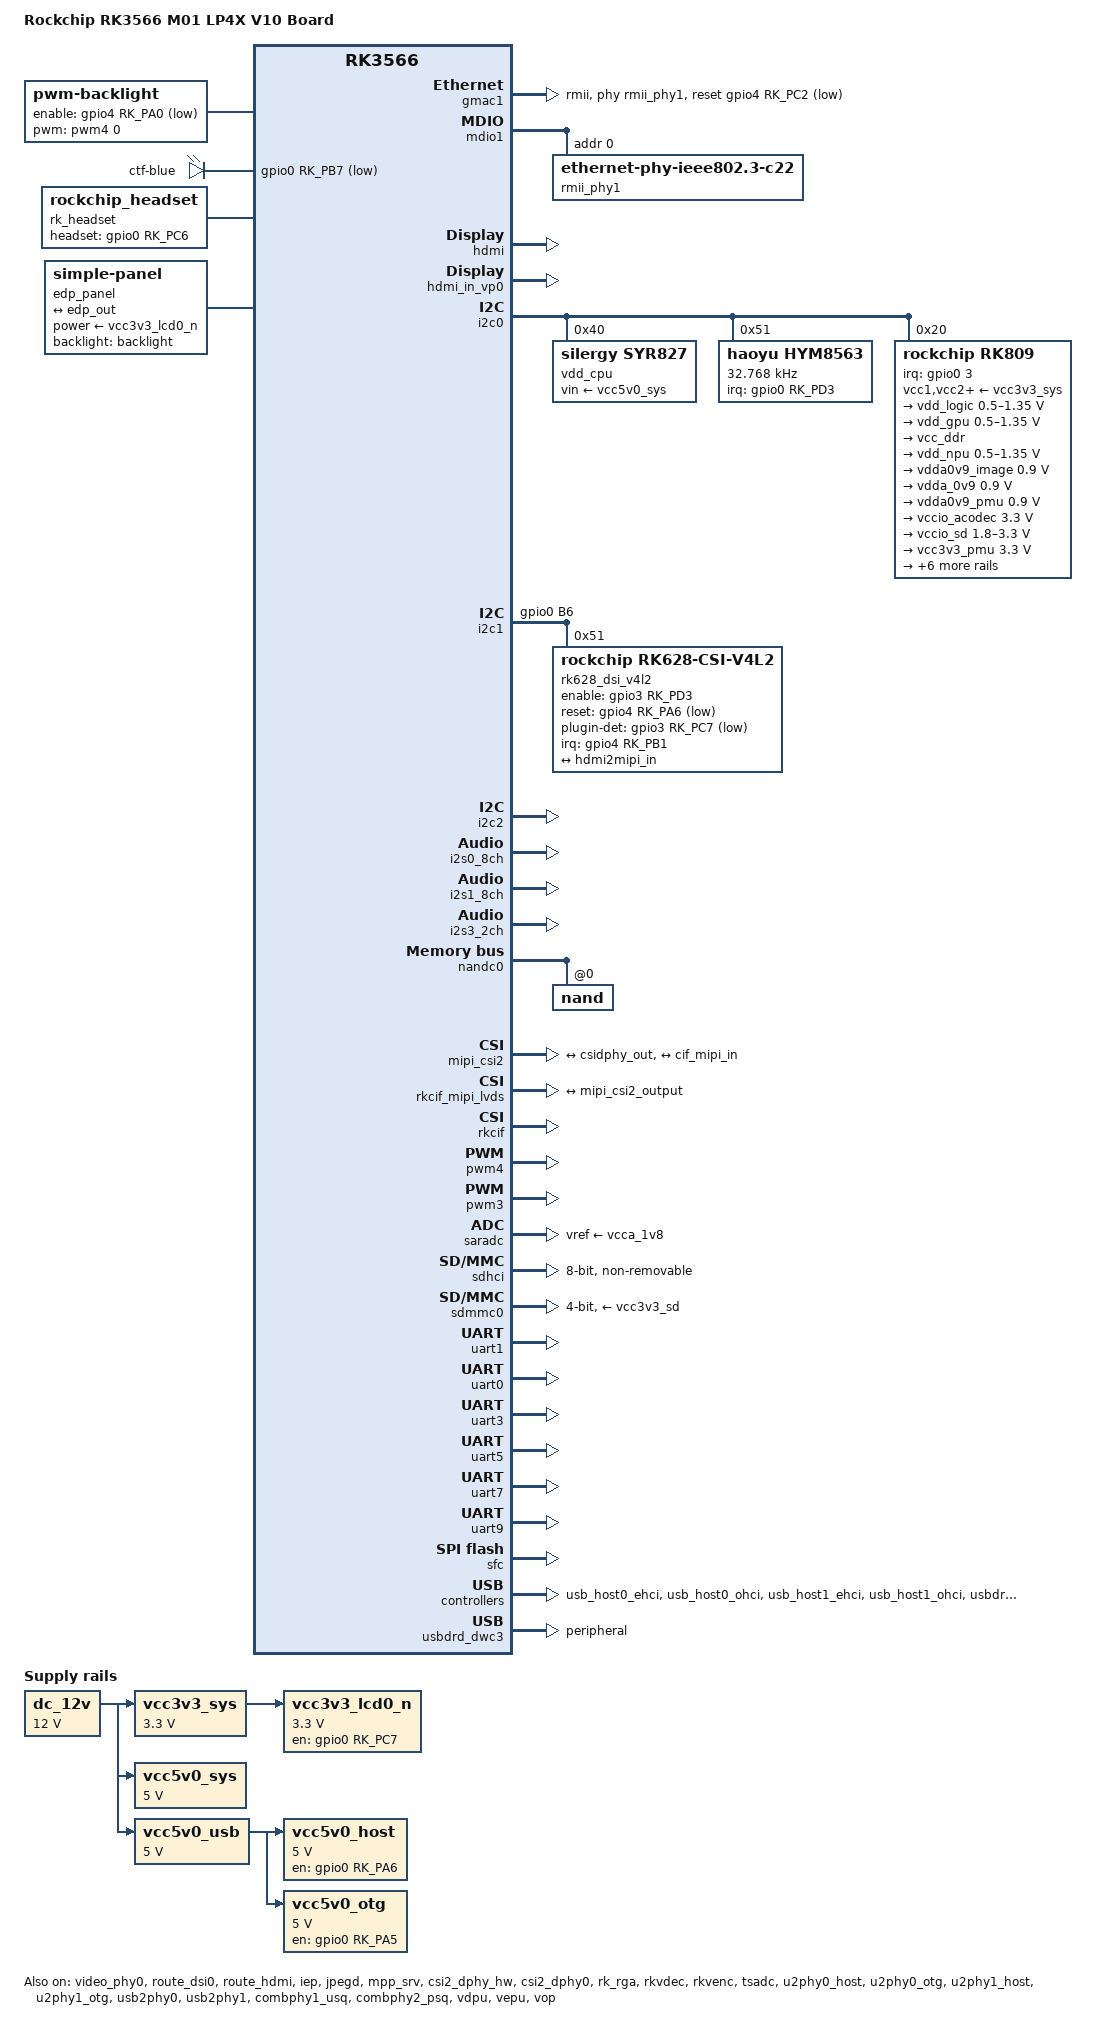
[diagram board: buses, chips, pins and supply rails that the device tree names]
// SPDX-License-Identifier: (GPL-2.0+ OR MIT)
/*
 * Copyright (c) 2020 Rockchip Electronics Co., Ltd.
 *
 */

/dts-v1/;

#include <dt-bindings/gpio/gpio.h>
#include <dt-bindings/pwm/pwm.h>
#include <dt-bindings/pinctrl/rockchip.h>
#include <dt-bindings/input/rk-input.h>
#include <dt-bindings/display/drm_mipi_dsi.h>
#include <dt-bindings/display/media-bus-format.h>
#include <dt-bindings/sensor-dev.h>
#include "rk3566.dtsi"
#include "rk3568-android.dtsi"


/ {
	model = "Rockchip RK3566 M01 LP4X V10 Board";
	compatible = "rockchip,rk3566-m01-lp4x-v10", "rockchip,rk3566";

	adc_keys: adc-keys {
		compatible = "adc-keys";
		status = "disabled";
		io-channels = <&saradc 0>;
		io-channel-names = "buttons";
		keyup-threshold-microvolt = <1800000>;
		poll-interval = <100>;

		vol-up-key {
			label = "volume up";
			linux,code = <KEY_VOLUMEUP>;
			press-threshold-microvolt = <1750>;
		};

		vol-down-key {
			label = "volume down";
			linux,code = <KEY_VOLUMEDOWN>;
			press-threshold-microvolt = <297500>;
		};

		menu-key {
			label = "menu";
			linux,code = <KEY_MENU>;
			press-threshold-microvolt = <980000>;
		};

		back-key {
			label = "back";
			linux,code = <KEY_BACK>;
			press-threshold-microvolt = <1305500>;
		};
	};

	hx711 {	//must disable uart3
		compatible = "avia,hx711";
		sck-gpios = <&gpio1 RK_PA0 GPIO_ACTIVE_HIGH>;
		dout-gpios = <&gpio1 RK_PA1 GPIO_ACTIVE_HIGH>;
		avdd-supply = <&vcc3v3_hx711>;
		clock-frequency = <100000>;
		status = "disabled";
	};

	vcc3v3_hx711:vcc3v3_hx711 {
		compatible = "regulator-fixed";
		regulator-name = "vcc3v3_hx711";
		regulator-boot-on;
		regulator-min-microvolt = <3300000>;
		regulator-max-microvolt = <3300000>;
		status = "disabled";
	};

	backlight: backlight {
		compatible = "pwm-backlight";

		//25000=40Khz 50000=20khz 80000=12.5khz 100000=10Khz 1000000=1Khz  5000000=200hz
		pwms = <&pwm4 0 100000 0>;
		enable-gpios = <&gpio4 RK_PA0 GPIO_ACTIVE_LOW>;
		brightness-levels = <
			  0   1   2   3   4   5   6   7
			  8   9  10  11  12  13  14  15
			 16  17  18  19  20  21  22  23
			 24  25  26  27  28  29  30  31
			 32  33  34  35  36  37  38  39
			 40  41  42  43  44  45  46  47
			 48  49  50  51  52  53  54  55
			 56  57  58  59  60  61  62  63
			 64  65  66  67  68  69  70  71
			 72  73  74  75  76  77  78  79
			 80  81  82  83  84  85  86  87
			 88  89  90  91  92  93  94  95
			 96  97  98  99 100 101 102 103
			104 105 106 107 108 109 110 111
			112 113 114 115 116 117 118 119
			120 121 122 123 124 125 126 127
			128 129 130 131 132 133 134 135
			136 137 138 139 140 141 142 143
			144 145 146 147 148 149 150 151
			152 153 154 155 156 157 158 159
			160 161 162 163 164 165 166 167
			168 169 170 171 172 173 174 175
			176 177 178 179 180 181 182 183
			184 185 186 187 188 189 190 191
			192 193 194 195 196 197 198 199
			200 201 202 203 204 205 206 207
			208 209 210 211 212 213 214 215
			216 217 218 219 220 221 222 223
			224 225 226 227 228 229 230 231
			232 233 234 235 236 237 238 239
			240 241 242 243 244 245 246 247
			248 249 250 251 252 253 254 255>;
		default-brightness-level = <128>;
	};

	dc_12v: dc-12v {
		compatible = "regulator-fixed";
		regulator-name = "dc_12v";
		regulator-always-on;
		regulator-boot-on;
		regulator-min-microvolt = <12000000>;
		regulator-max-microvolt = <12000000>;
	};

	hdmi_sound: hdmi-sound {
		status = "disabled";
		compatible = "rockchip,hdmi";
		rockchip,mclk-fs = <128>;
		rockchip,card-name = "rockchip,hdmi";
		rockchip,cpu = <&i2s0_8ch>;
		rockchip,codec = <&hdmi>;
	};

	leds: leds {
		compatible = "gpio-leds";
		work_led: work {
			label = "ctf-blue";
			linux,default-trigger = "default-on";
			default-state = "on";
			gpios = <&gpio0 RK_PB7 GPIO_ACTIVE_LOW>;
			pinctrl-names = "default";
			pinctrl-0 = <&led_ctrl>;
		};
	};

	rk_headset: rk-headset {
		compatible = "rockchip_headset";
		headset_gpio = <&gpio0 RK_PC6 GPIO_ACTIVE_HIGH>;
		pinctrl-names = "default";
		pinctrl-0 = <&hp_det>;
	};

	gpio_demo {
        	compatible = "gpio_demo";
		status = "okay";
		pinctrl-names = "default";
		pinctrl-0 = <&user_gpios>;
	};

	rk809_sound: rk809-sound {
		status = "okay";
		compatible = "simple-audio-card";
		simple-audio-card,format = "i2s";
		simple-audio-card,name = "rk809";
		simple-audio-card,mclk-fs = <256>;

		simple-audio-card,cpu {
			sound-dai = <&i2s1_8ch>;
		};
		simple-audio-card,codec {
			sound-dai = <&rk809_codec>;
		};
	};

	vcc3v3_sys: vcc3v3-sys {
		compatible = "regulator-fixed";
		regulator-name = "vcc3v3_sys";
		regulator-always-on;
		regulator-boot-on;
		regulator-min-microvolt = <3300000>;
		regulator-max-microvolt = <3300000>;
		vin-supply = <&dc_12v>;
	};

	vcc5v0_sys: vcc5v0-sys {
		compatible = "regulator-fixed";
		regulator-name = "vcc5v0_sys";
		regulator-always-on;
		regulator-boot-on;
		regulator-min-microvolt = <5000000>;
		regulator-max-microvolt = <5000000>;
		vin-supply = <&dc_12v>;
	};

	vcc5v0_usb: vcc5v0-usb {
		compatible = "regulator-fixed";
		regulator-name = "vcc5v0_usb";
		regulator-always-on;
		regulator-boot-on;
		regulator-min-microvolt = <5000000>;
		regulator-max-microvolt = <5000000>;
		vin-supply = <&dc_12v>;
	};

	vcc5v0_host: vcc5v0-host-regulator {
		compatible = "regulator-fixed";
		regulator-name = "vcc5v0_host";
		regulator-boot-on;
		regulator-always-on;
		regulator-min-microvolt = <5000000>;
		regulator-max-microvolt = <5000000>;
		enable-active-high;
		gpio = <&gpio0 RK_PA6 GPIO_ACTIVE_HIGH>;
		vin-supply = <&vcc5v0_usb>;
		pinctrl-names = "default";
		pinctrl-0 = <&vcc5v0_host_en &host_hub_reset>;
	};

	vcc5v0_otg: vcc5v0-otg-regulator {
		compatible = "regulator-fixed";
		regulator-name = "vcc5v0_otg";
		regulator-min-microvolt = <5000000>;
		regulator-max-microvolt = <5000000>;
		enable-active-high;
		gpio = <&gpio0 RK_PA5 GPIO_ACTIVE_HIGH>;
		vin-supply = <&vcc5v0_usb>;
		pinctrl-names = "default";
		pinctrl-0 = <&vcc5v0_otg_en>;
	};

	vcc3v3_lcd0_n: vcc3v3-lcd0-n {
		compatible = "regulator-fixed";
		regulator-name = "vcc3v3_lcd0_n";
		regulator-boot-on;
		regulator-always-on;
		regulator-min-microvolt = <3300000>;
		regulator-max-microvolt = <3300000>;
		enable-active-high;
		gpio = <&gpio0 RK_PC7 GPIO_ACTIVE_HIGH>;
		vin-supply = <&vcc3v3_sys>;

		regulator-state-mem {
			regulator-off-in-suspend;
		};
	};

	rk628_audio_codec: rk628-audio-codec {
		compatible = "rockchip,dummy-codec";
		#sound-dai-cells = <0>;
	};

	rk628_hdmi_rx_sound: rk628-hdmi-rx-sound {
		compatible = "simple-audio-card";
		simple-audio-card,name = "hdmiin";
		simple-audio-card,format = "i2s";
		simple-audio-card,bitclock-master = <&rk628_audio_master>;
		simple-audio-card,frame-master = <&rk628_audio_master>;

		simple-audio-card,cpu {
			sound-dai = <&i2s3_2ch>;
		};

		rk628_audio_master: simple-audio-card,codec {
			sound-dai = <&rk628_audio_codec>;
		};
	};

	sdio_pwrseq: sdio-pwrseq {
		compatible = "mmc-pwrseq-simple";
		//clocks = <&pmucru CLK_RTC_32K>;
		clocks = <&rk809 1>;
		clock-names = "ext_clock";
		pinctrl-names = "default";
		pinctrl-0 = <&wifi_enable_h &wifi_power_h>;

		/*
		 * On the module itself this is one of these (depending
		 * on the actual card populated):
		 * - SDIO_RESET_L_WL_REG_ON
		 * - PDN (power down when low)
		 */
		post-power-on-delay-ms = <200>;
		reset-gpios = <&gpio2 RK_PB1 GPIO_ACTIVE_LOW>;
	};

	wireless_wlan: wireless-wlan {
		compatible = "wlan-platdata";
		rockchip,grf = <&grf>;
		wifi_chip_type = "ap6398s";
		pinctrl-names = "default";
		pinctrl-0 = <&wifi_host_wake_irq>;
		WIFI,host_wake_irq = <&gpio2 RK_PB2 GPIO_ACTIVE_HIGH>;
		status = "disabled";
	};

	wireless_bluetooth: wireless-bluetooth {
		compatible = "bluetooth-platdata";
		clocks = <&rk809 1>;
		clock-names = "ext_clock";
		//wifi-bt-power-toggle;
		uart_rts_gpios = <&gpio2 RK_PB5 GPIO_ACTIVE_LOW>;
		pinctrl-names = "default", "rts_gpio";
		pinctrl-0 = <&uart1m0_rtsn>;
		pinctrl-1 = <&uart1_gpios>;
		BT,reset_gpio    = <&gpio2 RK_PB7 GPIO_ACTIVE_HIGH>;
		BT,wake_gpio     = <&gpio2 RK_PC1 GPIO_ACTIVE_HIGH>;
		BT,wake_host_irq = <&gpio2 RK_PC0 GPIO_ACTIVE_HIGH>;
		status = "disabled";
	};

	test-power {
		status = "okay";
	};

	edp_panel: edp-panel {
		compatible = "simple-panel";
		backlight = <&backlight>;
		power-supply = <&vcc3v3_lcd0_n>;
		//enable-gpios = <&gpio1 RK_PC6 GPIO_ACTIVE_HIGH>;
		prepare-delay-ms = <200>;
		enable-delay-ms = <20>;

		display-timings {
			native-mode = <&timing_edp>;

			timing_edp: timing-edp {
				clock-frequency = <148000000>;
				hactive = <1920>;
				vactive = <1080>;
				hback-porch = <80>;
				hfront-porch = <160>;
				vback-porch = <30>;
				vfront-porch = <20>;
				hsync-len = <32>;
				vsync-len = <18>;
				hsync-active = <0>;
				vsync-active = <0>;
				de-active = <0>;
				pixelclk-active = <0>;
			};
		};

		ports {
			panel_in: endpoint {
				remote-endpoint = <&edp_out>;
			};
		};
	};
};

&bus_npu {
	/* Dedicated image does not use the NPU; avoid PM-domain startup faults. */
	status = "disabled";
};

&cpu0 {
	cpu-supply = <&vdd_cpu>;
};

&dfi {
	status = "disabled";
};

&dmc {
	center-supply = <&vdd_logic>;
	status = "disabled";
};

&edp {
	status = "disabled";
	//hpd-gpios = <&gpio4 RK_PC0 GPIO_ACTIVE_HIGH>;

	force-hpd;

	ports {
		port@1 {
			reg = <1>;

			edp_out: endpoint {
				remote-endpoint = <&panel_in>;
			};
		};
	};
};

&edp_in_vp0 {
	status = "disabled";
};

&edp_in_vp1 {
	status = "disabled";
};

&edp_phy {
	status = "disabled";
};

&route_edp {
	status = "disabled";
	connect = <&vp1_out_edp>;
};

/*
 * video_phy0 needs to be enabled
 * when dsi0 is enabled
 */
&dsi0 {
	enable-gpios = <&gpio3 RK_PD4 GPIO_ACTIVE_HIGH>;
	reset-gpios = <&gpio3 RK_PD5 GPIO_ACTIVE_LOW>;
	status = "disabled";
	rockchip,lane-rate = <890>;

	dsi0_panel: panel@0 {
		status = "okay";
		compatible = "simple-panel-dsi";
		reg = <0>;
		power-supply = <&vcc3v3_lcd0_n>;
		backlight = <&backlight>;
		reset-delay-ms = <100>;
		enable-delay-ms = <100>;
		prepare-delay-ms = <60>;
		unprepare-delay-ms = <60>;
		disable-delay-ms = <60>;
		dsi,flags = <(MIPI_DSI_MODE_VIDEO | MIPI_DSI_MODE_VIDEO_BURST |
			MIPI_DSI_MODE_LPM | MIPI_DSI_MODE_EOT_PACKET)>;
		dsi,format = <MIPI_DSI_FMT_RGB888>;
		dsi,lanes  = <4>;

		panel-init-sequence = [
			23 05 02 27 AA
			23 05 02 48 02
			23 05 02 B6 20
			23 05 02 01 80
			23 05 02 02 38
			23 05 02 03 47
			23 05 02 04 a0
			23 05 02 05 14
			23 05 02 06 64
			23 05 02 07 00
			23 05 02 08 0a
			23 05 02 09 0a
			23 05 02 0A 19
			23 05 02 0B 82
			23 05 02 0C 14
			23 05 02 0D 01
			23 05 02 0E 80
			23 05 02 0F 20
			23 05 02 10 20
			23 05 02 11 03
			23 05 02 12 1B
			23 05 02 13 53
			23 05 02 14 01
			23 05 02 15 23
			23 05 02 16 40
			23 05 02 17 00
			23 05 02 18 01
			23 05 02 19 23
			23 05 02 1A 40
			23 05 02 1B 00
			23 05 02 1E 46
			23 05 02 51 30
			23 05 02 1F 10
			23 78 02 2A 01
		];

		panel-init-sequence-p1366 = [
			23 05 02 27 AA
			23 05 02 48 02
			23 05 02 B6 20
			23 05 02 01 56
			23 05 02 02 00
			23 05 02 03 35
			23 05 02 04 1e
			23 05 02 05 92
			23 05 02 06 12
			23 05 02 07 00
			23 05 02 08 1e
			23 05 02 09 14
			23 05 02 0A 0a
			23 05 02 0B 82
			23 05 02 0C 14
			23 05 02 0D 01
			23 05 02 0E 80
			23 05 02 0F 20
			23 05 02 10 20
			23 05 02 11 03
			23 05 02 12 1B
			23 05 02 13 09
			23 05 02 14 01
			23 05 02 15 23
			23 05 02 16 40
			23 05 02 17 00
			23 05 02 18 01
			23 05 02 19 23
			23 05 02 1A 40
			23 05 02 1B 00
			23 05 02 1E 46
			23 05 02 51 30
			23 05 02 1F 10
			23 78 02 2A 01
		];

		disp_timings0: display-timings {
			native-mode = <&timing0>;

			timing0: timing0 {
				clock-frequency = <148500000>;
				hactive = <1920>;
				vactive = <1080>;
				hback-porch = <100>;
				hsync-len = <20>;
				hfront-porch = <160>;
				vback-porch = <25>;
				vfront-porch = <10>;
				vsync-len = <10>;
				hsync-active = <0>;
				vsync-active = <0>;
				de-active = <0>;
				pixelclk-active = <0>;
			};

			timing2: timing2 {
				clock-frequency = <75000000>;
				hactive = <1366>;
				vactive = <768>;
				hback-porch = <18>;
				hsync-len = <146>;
				hfront-porch = <30>;
				vback-porch = <10>;
				vfront-porch = <30>;
				vsync-len = <20>;
				hsync-active = <0>;
				vsync-active = <0>;
				de-active = <0>;
				pixelclk-active = <0>;
			};
		};

		ports {
			#address-cells = <1>;
			#size-cells = <0>;

			port@0 {
				reg = <0>;
				panel_in_dsi: endpoint {
					remote-endpoint = <&dsi_out_panel>;
				};
			};
		};
	};

	ports {
		#address-cells = <1>;
		#size-cells = <0>;

		port@1 {
			reg = <1>;
			dsi_out_panel: endpoint {
				remote-endpoint = <&panel_in_dsi>;
			};
		};
	};

};

&dsi0_in_vp0 {
	status = "disabled";
};

&dsi0_in_vp1 {
	status = "disabled";
};

&vp1 {
	//xmirror-enable = <0>;
};

&video_phy0 {
	status = "okay";
};

&route_dsi0 {
	status = "okay";
	connect = <&vp1_out_dsi0>;
};

/*
 * video_phy1 needs to be enabled
 * when dsi1 is enabled
 */
&dsi1 {
	status = "disabled";
};

&dsi1_in_vp0 {
	status = "disabled";
};

&dsi1_in_vp1 {
	status = "disabled";
};

&video_phy1 {
	status = "disabled";
};

&gmac1 {
	phy-mode = "rmii";
	clock_in_out = "output";

	snps,reset-gpio = <&gpio4 RK_PC2 GPIO_ACTIVE_LOW>;
	snps,reset-active-low;
	/* Reset time is 20ms, 100ms for rtl8211f */
	snps,reset-delays-us = <0 50000 100000>;

	//assigned-clocks = <&cru SCLK_GMAC1_RX_TX>, <&cru SCLK_GMAC1>, <&cru CLK_MAC1_OUT>;
	assigned-clocks = <&cru SCLK_GMAC1_RX_TX>, <&cru SCLK_GMAC1>;
	assigned-clock-parents = <&cru SCLK_GMAC1_RMII_SPEED>;
	assigned-clock-rates = <0>, <50000000>;
	//assigned-clock-rates = <0>, <50000000>, <25000000>;

	pinctrl-names = "default";
	pinctrl-0 = <&gmac1m0_miim
			&gmac1m0_clkinout
			&gmac1m0_rx_bus2
			&gmac1m0_tx_bus2>;

	//tx_delay = <0x4f>;
	//rx_delay = <0x25>;

	phy-handle = <&rmii_phy1>;
	status = "okay";
};

&mdio1 {
	rmii_phy1: phy@0 {
		compatible = "ethernet-phy-ieee802.3-c22";
		//clocks = <&cru CLK_MAC1_OUT>;
		reg = <0x0>;
	};
};

&gpu {
	/* DRM/KMS remains enabled; the Mali GPU/Vulkan stack is intentionally removed. */
	status = "disabled";
};

&hdmi {
	status = "okay";
	rockchip,phy-table =
		<92812500  0x8009 0x0000 0x0270>,
		<165000000 0x800b 0x0000 0x026d>,
		<185625000 0x800b 0x0000 0x01ed>,
		<297000000 0x800b 0x0000 0x01ad>,
		<594000000 0x8029 0x0000 0x0088>,
		<000000000 0x0000 0x0000 0x0000>;
};

&hdmi_in_vp0 {
	status = "okay";
};

&hdmi_in_vp1 {
	status = "disabled";
};

&route_hdmi {
	status = "okay";
	connect = <&vp0_out_hdmi>;
};

&hdmi_sound {
	status = "okay";
};

&i2c0 {
	status = "okay";

	vdd_cpu: syr837@40 {
		compatible = "silergy,syr827";
		reg = <0x40>;
		vin-supply = <&vcc5v0_sys>;
		regulator-compatible = "fan53555-reg";
		regulator-name = "vdd_cpu";
		regulator-min-microvolt = <712500>;
		regulator-max-microvolt = <1500000>;
		regulator-init-microvolt = <900000>;
		regulator-ramp-delay = <1000>;
		fcs,suspend-voltage-selector = <1>;
		regulator-initial-state = <3>;
		regulator-boot-on;
		regulator-always-on;
		regulator-state-mem {
			regulator-on-in-suspend;
			regulator-suspend-microvolt = <1100000>;
			regulator-changeable-in-suspend;
		};
	};

	hym8563: hym8563@51 {
		compatible = "haoyu,hym8563";
		status = "okay";
		reg = <0x51>;
		#clock-cells = <0>;
		clock-frequency = <32768>;
		clock-output-names = "rtc-xin32k";
		interrupt-parent = <&gpio0>;
		interrupts = <RK_PD3 IRQ_TYPE_EDGE_FALLING>;
		pinctrl-names = "default";
		pinctrl-0 = <&rtc_int>;
		wakeup-source;
	};

	rk809: pmic@20 {
		compatible = "rockchip,rk809";
		reg = <0x20>;
		interrupt-parent = <&gpio0>;
		interrupts = <3 IRQ_TYPE_LEVEL_LOW>;

		pinctrl-names = "default", "pmic-sleep",
				"pmic-power-off", "pmic-reset";
		pinctrl-0 = <&pmic_int>;
		pinctrl-1 = <&soc_slppin_slp>, <&rk817_slppin_slp>;
		pinctrl-2 = <&soc_slppin_gpio>, <&rk817_slppin_pwrdn>;
		pinctrl-3 = <&soc_slppin_gpio>, <&rk817_slppin_rst>;

		rockchip,system-power-controller;
		wakeup-source;
		#clock-cells = <1>;
		clock-output-names = "rk808-clkout1", "rk808-clkout2";
		//fb-inner-reg-idxs = <2>;
		/* 1: rst regs (default in codes), 0: rst the pmic */
		pmic-reset-func = <0>;
		/* not save the PMIC_POWER_EN register in uboot */
		not-save-power-en = <1>;

		vcc1-supply = <&vcc3v3_sys>;
		vcc2-supply = <&vcc3v3_sys>;
		vcc3-supply = <&vcc3v3_sys>;
		vcc4-supply = <&vcc3v3_sys>;
		vcc5-supply = <&vcc3v3_sys>;
		vcc6-supply = <&vcc3v3_sys>;
		vcc7-supply = <&vcc3v3_sys>;
		vcc8-supply = <&vcc3v3_sys>;
		vcc9-supply = <&vcc3v3_sys>;

		pwrkey {
			status = "okay";
		};

		pinctrl_rk8xx: pinctrl_rk8xx {
			gpio-controller;
			#gpio-cells = <2>;

			rk817_slppin_null: rk817_slppin_null {
				pins = "gpio_slp";
				function = "pin_fun0";
			};

			rk817_slppin_slp: rk817_slppin_slp {
				pins = "gpio_slp";
				function = "pin_fun1";
			};

			rk817_slppin_pwrdn: rk817_slppin_pwrdn {
				pins = "gpio_slp";
				function = "pin_fun2";
			};

			rk817_slppin_rst: rk817_slppin_rst {
				pins = "gpio_slp";
				function = "pin_fun3";
			};
		};

		regulators {
			vdd_logic: DCDC_REG1 {
				regulator-always-on;
				regulator-boot-on;
				regulator-min-microvolt = <500000>;
				regulator-max-microvolt = <1350000>;
				regulator-init-microvolt = <900000>;
				regulator-ramp-delay = <6001>;
				regulator-initial-mode = <0x2>;
				regulator-name = "vdd_logic";
				regulator-state-mem {
					regulator-off-in-suspend;
				};
			};

			vdd_gpu: DCDC_REG2 {
				regulator-always-on;
				regulator-boot-on;
				regulator-min-microvolt = <500000>;
				regulator-max-microvolt = <1350000>;
				regulator-init-microvolt = <900000>;
				regulator-ramp-delay = <6001>;
				regulator-initial-mode = <0x2>;
				regulator-name = "vdd_gpu";
				regulator-state-mem {
					regulator-off-in-suspend;
				};
			};

			vcc_ddr: DCDC_REG3 {
				regulator-always-on;
				regulator-boot-on;
				regulator-initial-mode = <0x2>;
				regulator-name = "vcc_ddr";
				regulator-state-mem {
					regulator-on-in-suspend;
				};
			};

			vdd_npu: DCDC_REG4 {
				regulator-always-on;
				regulator-boot-on;
				regulator-min-microvolt = <500000>;
				regulator-max-microvolt = <1350000>;
				regulator-init-microvolt = <900000>;
				regulator-ramp-delay = <6001>;
				regulator-initial-mode = <0x2>;
				regulator-name = "vdd_npu";
				regulator-state-mem {
					regulator-off-in-suspend;
				};
			};

			vdda0v9_image: LDO_REG1 {
				regulator-boot-on;
				regulator-always-on;
				regulator-min-microvolt = <900000>;
				regulator-max-microvolt = <900000>;
				regulator-name = "vdda0v9_image";
				regulator-state-mem {
					regulator-off-in-suspend;
				};
			};

			vdda_0v9: LDO_REG2 {
				regulator-always-on;
				regulator-boot-on;
				regulator-min-microvolt = <900000>;
				regulator-max-microvolt = <900000>;
				regulator-name = "vdda_0v9";
				regulator-state-mem {
					regulator-off-in-suspend;
				};
			};

			vdda0v9_pmu: LDO_REG3 {
				regulator-always-on;
				regulator-boot-on;
				regulator-min-microvolt = <900000>;
				regulator-max-microvolt = <900000>;
				regulator-name = "vdda0v9_pmu";
				regulator-state-mem {
					regulator-on-in-suspend;
					regulator-suspend-microvolt = <900000>;
				};
			};

			vccio_acodec: LDO_REG4 {
				regulator-always-on;
				regulator-boot-on;
				regulator-min-microvolt = <3300000>;
				regulator-max-microvolt = <3300000>;
				regulator-name = "vccio_acodec";
				regulator-state-mem {
					regulator-off-in-suspend;
				};
			};

			vccio_sd: LDO_REG5 {
				regulator-always-on;
				regulator-boot-on;
				regulator-min-microvolt = <1800000>;
				regulator-max-microvolt = <3300000>;
				regulator-name = "vccio_sd";
				regulator-state-mem {
					regulator-off-in-suspend;
				};
			};

			vcc3v3_pmu: LDO_REG6 {
				regulator-always-on;
				regulator-boot-on;
				regulator-min-microvolt = <3300000>;
				regulator-max-microvolt = <3300000>;
				regulator-name = "vcc3v3_pmu";
				regulator-state-mem {
					regulator-on-in-suspend;
					regulator-suspend-microvolt = <3300000>;
				};
			};

			vcca_1v8: LDO_REG7 {
				regulator-always-on;
				regulator-boot-on;
				regulator-min-microvolt = <1800000>;
				regulator-max-microvolt = <1800000>;
				regulator-name = "vcca_1v8";
				regulator-state-mem {
					regulator-off-in-suspend;
				};
			};

			vcca1v8_pmu: LDO_REG8 {
				regulator-always-on;
				regulator-boot-on;
				regulator-min-microvolt = <1800000>;
				regulator-max-microvolt = <1800000>;
				regulator-name = "vcca1v8_pmu";
				regulator-state-mem {
					regulator-on-in-suspend;
					regulator-suspend-microvolt = <1800000>;
				};
			};

			vcca1v8_image: LDO_REG9 {
				regulator-always-on;
				regulator-boot-on;
				regulator-min-microvolt = <1800000>;
				regulator-max-microvolt = <1800000>;
				regulator-name = "vcca1v8_image";
				regulator-state-mem {
					regulator-off-in-suspend;
				};
			};

			vcc_1v8: DCDC_REG5 {
				regulator-always-on;
				regulator-boot-on;
				regulator-min-microvolt = <1800000>;
				regulator-max-microvolt = <1800000>;
				regulator-name = "vcc_1v8";
				regulator-state-mem {
					regulator-off-in-suspend;
				};
			};

			vcc_3v3: SWITCH_REG1 {
				regulator-always-on;
				regulator-boot-on;
				regulator-name = "vcc_3v3";
				regulator-state-mem {
					regulator-off-in-suspend;
				};
			};

			vcc3v3_sd: SWITCH_REG2 {
				regulator-always-on;
				regulator-boot-on;
				regulator-name = "vcc3v3_sd";
				regulator-state-mem {
					regulator-off-in-suspend;
				};
			};
		};

		rk809_codec: codec {
			#sound-dai-cells = <0>;
			compatible = "rockchip,rk809-codec", "rockchip,rk817-codec";
			clocks = <&cru I2S1_MCLKOUT>;
			clock-names = "mclk";
			assigned-clocks = <&cru I2S1_MCLKOUT>, <&cru I2S1_MCLK_TX_IOE>;
			assigned-clock-rates = <12288000>;
			assigned-clock-parents = <&cru I2S1_MCLKOUT_TX>, <&cru I2S1_MCLKOUT_TX>;
			pinctrl-names = "default";
			pinctrl-0 = <&i2s1m0_mclk &spk_ctrl>;
			hp-volume = <3>;
			spk-volume = <3>;
			capture-volume = <3>;
			//mic-in-differential;
			out-l2spk-r2hp;
			extcon = <&rk_headset>;
			spk-ctl-gpio = <&gpio3 RK_PD2 GPIO_ACTIVE_HIGH>;
			spk-mute-delay-ms = <20>;
			status = "okay";
		};
	};
};

&i2c1 {
	status = "okay";
	/* Apply the OLED safe state when the I2C1 controller probes. */
	pinctrl-names = "default";
	pinctrl-0 = <&i2c1_xfer &oled_boot_pins>;
/*
	gt1x: gt1x@14 {
		compatible = "goodix,gt1x";
		reg = <0x14>;
		pinctrl-names = "default";
		pinctrl-0 = <&touch_gpio>;
		goodix,rst-gpio = <&gpio0 RK_PB6 GPIO_ACTIVE_HIGH>;
		goodix,irq-gpio = <&gpio0 RK_PB5 IRQ_TYPE_LEVEL_LOW>;
		status = "disabled";
	};
*/
	gs_mxc6655xa: gs_mxc6655xa@15 {
		status = "disabled";
		compatible = "gs_mxc6655xa";
		pinctrl-names = "default";
		pinctrl-0 = <&mxc6655xa_irq_gpio>;
		reg = <0x15>;
		irq-gpio = <&gpio0 RK_PB5 IRQ_TYPE_LEVEL_LOW>;
		irq_enable = <0>;
		poll_delay_ms = <30>;
		type = <SENSOR_TYPE_ACCEL>;
		power-off-in-suspend = <1>;
		layout = <1>;
		//layout_level = <0 1 0  	2 0 0  	0 0 1>;
	};


	rk628_dsi_v4l2: rk628_dsi_v4l2@51 {
		reg = <0x51>;
		compatible = "rockchip,rk628-csi-v4l2";
		interrupt-parent = <&gpio4>;
		interrupts = <RK_PB1 IRQ_TYPE_LEVEL_HIGH>;
		pinctrl-names = "default";
		pinctrl-0 = <&rk628_irq>;
		enable-gpios = <&gpio3 RK_PD3 GPIO_ACTIVE_HIGH>;
		reset-gpios = <&gpio4 RK_PA6 GPIO_ACTIVE_LOW>;
		plugin-det-gpios = <&gpio3 RK_PC7 GPIO_ACTIVE_LOW>;
		i2s-enable-default;
		//power-gpios = <&gpio0 17 GPIO_ACTIVE_HIGH>;
		/*
		* If the hpd output level is inverted on the circuit,
		* the following configuration needs to be enabled.
		*/
		/* hpd-output-inverted; */

		//hdcp-enable = <1>;
		//scaler-en = <1>;

		rockchip,camera-module-index = <0>;
		rockchip,camera-module-facing = "back";
		rockchip,camera-module-name = "RK628-CSI";
		rockchip,camera-module-lens-name = "NC";

		port {
			rk628_out: endpoint {
				remote-endpoint = <&hdmi2mipi_in>;
				data-lanes = <1 2 3 4>;
			};
		};
	};


};

&i2c2 {
	status = "okay";
	pinctrl-0 = <&i2c2m1_xfer>;
};

&i2c4 {
	status = "disabled";
};

&i2c5 {
	status = "disabled";
};

&i2s0_8ch {
	status = "okay";
};

&i2s1_8ch {
	status = "okay";
	rockchip,clk-trcm = <1>;
	pinctrl-names = "default";
	pinctrl-0 = <&i2s1m0_sclktx
		     &i2s1m0_lrcktx
		     &i2s1m0_sdi0
		     &i2s1m0_sdo0>;
};

&i2s3_2ch {
    /* RK628 HDMI RX uses I2S3 as the capture clock relationship. */
    rockchip,clk-trcm = <1>;
    rockchip,i2s3-mux-m1;
    resets = <&cru SRST_M_I2S3_2CH_TX>,
             <&cru SRST_M_I2S3_2CH_RX>;
    reset-names = "tx-m", "rx-m";
    status = "okay";

    pinctrl-names = "default";
    pinctrl-0 = <&i2s3m1_sclk
                 &i2s3m1_lrck
                 &i2s3m1_sdi>;
};

&iep {
	status = "okay";
};

&iep_mmu {
	status = "okay";
};

&jpegd {
	status = "okay";
};

&jpegd_mmu {
	status = "okay";
};

&mpp_srv {
	status = "okay";
};

&nandc0 {
	#address-cells = <1>;
	#size-cells = <0>;
	status = "okay";

	nand@0 {
		reg = <0>;
		nand-bus-width = <8>;
		nand-ecc-mode = "hw";
		nand-ecc-strength = <16>;
		nand-ecc-step-size = <1024>;
	};
};



&mipi_csi2 {
	status = "okay";

	ports {
		#address-cells = <1>;
		#size-cells = <0>;

		port@0 {
			reg = <0>;
			#address-cells = <1>;
			#size-cells = <0>;

			mipi_csi2_input: endpoint@1 {
				reg = <1>;
				remote-endpoint = <&csidphy_out>;
				data-lanes = <1 2 3 4>;
			};
		};

		port@1 {
			reg = <1>;
			#address-cells = <1>;
			#size-cells = <0>;

			mipi_csi2_output: endpoint@0 {
				reg = <0>;
				remote-endpoint = <&cif_mipi_in>;
				data-lanes = <1 2 3 4>;
			};
		};
	};
};

&rkcif_mipi_lvds {
	status = "okay";

	port {
		cif_mipi_in: endpoint {
			remote-endpoint = <&mipi_csi2_output>;
			data-lanes = <1 2 3 4>;
		};
	};
};

&rkcif_mmu {
	status = "okay";
};

&rkcif_dvp_sditf {
	status = "disabled";
};

&rkcif {
	status = "okay";
};

&csi2_dphy_hw {
	status = "okay";
};


&csi2_dphy0 {
	status = "okay";

	ports {
		#address-cells = <1>;
		#size-cells = <0>;
		port@0 {
			reg = <0>;
			#address-cells = <1>;
			#size-cells = <0>;

			hdmi2mipi_in: endpoint@0 {
				reg = <0>;
				remote-endpoint = <&rk628_out>;
				data-lanes = <1 2 3 4>;
			};
		};

		port@1 {
			reg = <1>;
			#address-cells = <1>;
			#size-cells = <0>;

			csidphy_out: endpoint@0 {
				reg = <0>;
				remote-endpoint = <&mipi_csi2_input>;
			};
		};
	};
};

&rkisp {
	status = "disabled";
};

&rkisp_mmu {
	status = "disabled";
};

//&vp1 {
//	xmirror-enable;
//};

&rkisp_vir0 {
	status = "disabled";

	port {
		#address-cells = <1>;
		#size-cells = <0>;

		isp0_in: endpoint@0 {
			reg = <0>;
			remote-endpoint = <&csidphy_out>;
		};
	};
};



&pinctrl {

	pmic {
		pmic_int: pmic_int {
			rockchip,pins =
				<0 RK_PA3 RK_FUNC_GPIO &pcfg_pull_up>;
		};

		soc_slppin_gpio: soc_slppin_gpio {
			rockchip,pins =
				<0 RK_PA2 RK_FUNC_GPIO &pcfg_output_low_pull_down>;
		};

		soc_slppin_slp: soc_slppin_slp {
			rockchip,pins =
				<0 RK_PA2 1 &pcfg_pull_up>;
		};

		soc_slppin_rst: soc_slppin_rst {
			rockchip,pins =
				<0 RK_PA2 2 &pcfg_pull_none>;
		};
	};

	touch {
		touch_gpio: touch-gpio {
			rockchip,pins =
				<0 RK_PB5 RK_FUNC_GPIO &pcfg_pull_up>,
				<0 RK_PB6 RK_FUNC_GPIO &pcfg_pull_none>;
		};

		mxc6655xa_irq_gpio: mxc6655xa_irq_gpio {
			rockchip,pins = <0 RK_PB5 RK_FUNC_GPIO &pcfg_pull_none>;
		};
	};

	headphone {
		hp_det: hp-det {
			rockchip,pins = <0 RK_PC6 RK_FUNC_GPIO &pcfg_pull_none>;
		};
	};

	led {
		led_ctrl: led-ctrl {
			rockchip,pins = <0 RK_PB7 RK_FUNC_GPIO &pcfg_pull_up>;
		};

		spk_ctrl: spk_ctrl {
			rockchip,pins =
				<3 RK_PD2 RK_FUNC_GPIO &pcfg_pull_up>;
		};
	};

	gpio_demo {
		user_gpios: user_gpios {
			rockchip,pins =
					<3 RK_PD0 RK_FUNC_GPIO &pcfg_pull_up>,
					<3 RK_PD1 RK_FUNC_GPIO &pcfg_pull_up>,
					<3 RK_PD6 RK_FUNC_GPIO &pcfg_pull_up>,
					<3 RK_PD7 RK_FUNC_GPIO &pcfg_pull_up>;
		};
	};

	oled {
		oled_boot_pins: oled-boot-pins {
			/* I2C_TP RST drives OLED RES#. INT is not a VBAT output. */
			rockchip,pins =
				<0 RK_PB6 RK_FUNC_GPIO &pcfg_output_low_pull_down>;
		};
	};

	hym8563 {
		rtc_int: rtc-int {
			rockchip,pins =
				<0 RK_PD3 RK_FUNC_GPIO &pcfg_pull_up>;
		};
	};

	sdio-pwrseq {
		wifi_enable_h: wifi-enable-h {
			rockchip,pins = <2 RK_PB1 RK_FUNC_GPIO &pcfg_pull_none>;
		};

		wifi_power_h: wifi-power-h {
			rockchip,pins = <0 RK_PC4 RK_FUNC_GPIO &pcfg_pull_up>;
		};
	};

	wireless-wlan {
		wifi_host_wake_irq: wifi-host-wake-irq {
			rockchip,pins = <2 RK_PB2 RK_FUNC_GPIO &pcfg_pull_down>;
		};
	};

	wireless-bluetooth {
		uart1_gpios: uart1-gpios {
			rockchip,pins = <2 RK_PB5 RK_FUNC_GPIO &pcfg_pull_none>;
		};
	};

	usb {
		vcc5v0_host_en: vcc5v0-host-en {
			rockchip,pins = <0 RK_PA6 RK_FUNC_GPIO &pcfg_pull_none>;
		};

		vcc5v0_otg_en: vcc5v0-otg-en {
			rockchip,pins = <0 RK_PA5 RK_FUNC_GPIO &pcfg_pull_none>;
		};

		host_hub_reset: host-hub-reset {
			rockchip,pins =
				<2 RK_PD3 RK_FUNC_GPIO &pcfg_pull_up>;
		};
	};

	rk628-csi {
		rk628_irq: rk628-irq {
			rockchip,pins = <4 RK_PB1 RK_FUNC_GPIO &pcfg_pull_up>;
		};
	};


};

 /*
  * There are 10 independent IO domains in RK3566/RK3568, including PMUIO[0:2] and VCCIO[1:7].
  * 1/ PMUIO0 and PMUIO1 are fixed-level power domains which cannot be configured;
  * 2/ PMUIO2 and VCCIO1,VCCIO[3:7] domains require that their hardware power supply voltages
  *    must be consistent with the software configuration correspondingly
  *	a/ When the hardware IO level is connected to 1.8V, the software voltage configuration
  *	   should also be configured to 1.8V accordingly;
  *	b/ When the hardware IO level is connected to 3.3V, the software voltage configuration
  *	   should also be configured to 3.3V accordingly;
  * 3/ VCCIO2 voltage control selection (0xFDC20140)
  *	BIT[0]: 0x0: from GPIO_0A7 (default)
  *	BIT[0]: 0x1: from GRF
  *    Default is determined by Pin FLASH_VOL_SEL/GPIO0_A7:
  *	L:VCCIO2 must supply 3.3V
  *	H:VCCIO2 must supply 1.8V
  */
&pmu_io_domains {
	status = "okay";
	pmuio2-supply = <&vcc3v3_pmu>;
	vccio1-supply = <&vccio_acodec>;
	vccio3-supply = <&vccio_sd>;
	vccio4-supply = <&vcc_1v8>;
	vccio5-supply = <&vcc_3v3>;
	vccio6-supply = <&vcc_3v3>;
	vccio7-supply = <&vcc_3v3>;
};

&pwm4 {
	status = "okay";
};

&pwm5 {
	status = "disabled";
};

&pwm7 {
	status = "disabled";
};

&pwm3 {
	status = "okay";
	compatible = "rockchip,remotectl-pwm";
	remote_pwm_id = <3>;
	handle_cpu_id = <1>;
	remote_support_psci = <0>;
	pinctrl-names = "default";
	pinctrl-0 = <&pwm3_pins>;

	ir_key1{
		rockchip,usercode = <0x4040>;
		rockchip,key_table =
			<0xf5	KEY_POWER>,
			<0xf0	KEY_MUTE>,
			<0xbe	KEY_SEARCH>,
			<0xa6	KEY_ENTER>,
			<0xf2	KEY_MENU>,
			<0xba	KEY_BACK>,
			<0xf4	KEY_UP>,
			<0xf1	KEY_DOWN>,
			<0xef	KEY_LEFT>,
			<0xee	KEY_RIGHT>,
			<0xa7	KEY_HOMEPAGE>,
			<0xff	KEY_0>,
			<0xfe	KEY_1>,
			<0xfd	KEY_2>,
			<0xfc	KEY_3>,
			<0xfb	KEY_4>,
			<0xfa	KEY_5>,
			<0xf9	KEY_6>,
			<0xf8	KEY_7>,
			<0xf7	KEY_8>,
			<0xf6	KEY_9>;
	};

	ir_key2{
		rockchip,usercode = <0xbe41>;
		rockchip,key_table =
			<0xe6	KEY_POWER>,
			<0xee	KEY_MUTE>,
			<0xfa	KEY_SEARCH>,
			<0xe2	KEY_ENTER>,
			<0xf4	KEY_MENU>,
			<0xea	KEY_BACK>,
			<0xf5	KEY_UP>,
			<0xf3	KEY_DOWN>,
			<0xec	KEY_LEFT>,
			<0xfc	KEY_RIGHT>;
	};

	ir_key4{
		rockchip,usercode = <0xff00>;
		rockchip,key_table =
			<0xff	KEY_POWER>,
			<0xfd	KEY_MUTE>,
			<0xfa	KEY_ENTER>,
			<0xcf	KEY_MENU>,
			<0xe6	KEY_BACK>,
			<0xf6	KEY_UP>,
			<0xee	KEY_DOWN>,
			<0xfb	KEY_LEFT>,
			<0xf9	KEY_RIGHT>,
			<0xce	KEY_HOMEPAGE>,
			<0xef	KEY_TEXT>,	//no used

			<0xdf	KEY_0>,
			<0xde	KEY_1>,
			<0xdd	KEY_2>,
			<0xdc	KEY_3>,
			<0xdb	KEY_4>,
			<0xda	KEY_5>,
			<0xd9	KEY_6>,
			<0xd8	KEY_7>,
			<0xd7	KEY_8>,
			<0xd6	KEY_9>,
			<0xd5	KEY_DOT>,
			<0xf2	KEY_BACKSPACE>,

			<0xea	KEY_PLAYPAUSE>,
			<0xcd	KEY_STOPCD>,
			<0xe7	KEY_PREVIOUSSONG>,
			<0xe5	KEY_NEXTSONG>,

			<0xed	KEY_RO>,		//used to Starts the system settings activity
			<0xf7	KEY_APPSELECT>,//<0xf7	KEY_COPY>,
			<0xf3	KEY_VOLUMEDOWN>,
			<0xf1	KEY_VOLUMEUP>;
	};

	ir_key5{
		rockchip,usercode = <0x7f00>;
		rockchip,key_table =
			<0xf5	KEY_POWER>,
			<0xf4	KEY_MUTE>,
			<0xa5	KEY_ENTER>,
			<0xa8	KEY_MENU>,
			<0xab	KEY_BACK>,
			<0xa1	KEY_UP>,
			<0xa9	KEY_DOWN>,
			<0xa4	KEY_LEFT>,
			<0xa7	KEY_RIGHT>,
			<0xe4	KEY_HOMEPAGE>,	//source
			//<0xef	KEY_REFRESH>,	//no used

			<0xb9	KEY_0>,
			<0xf1	KEY_1>,
			<0xf9	KEY_2>,
			<0xf0	KEY_3>,
			<0xed	KEY_4>,
			<0xf8	KEY_5>,
			<0xec	KEY_6>,
			<0xe9	KEY_7>,
			<0xfd	KEY_8>,
			<0xe8	KEY_9>,
			//<0xd5	KEY_DOT>,
			//<0xf2	KEY_BACKSPACE>,

			//<0xea	KEY_PLAYPAUSE>,
			//<0xcd	KEY_STOPCD>,
			<0xe0	KEY_PREVIOUSSONG>,
			<0xa3	KEY_NEXTSONG>,

			//<0xed	KEY_RO>,		//used to Starts the system settings activity
			//<0xf7	KEY_COPY>,
			<0xa0	KEY_VOLUMEDOWN>,
			<0xe1	KEY_VOLUMEUP>;
	};

	ir_key6{
		rockchip,usercode = <0x1dcc>;
		rockchip,key_table =
			<0xff	KEY_POWER>;
	};

	ir_key7{
		rockchip,usercode = <0xf708>;
		rockchip,key_table =
			<0xf4	KEY_POWER>,
			<0xe3	KEY_MUTE>,
			<0xe1	KEY_ENTER>,
			<0xe2	KEY_MENU>,
			<0xf5	KEY_BACK>,
			<0xed	KEY_UP>,
			<0xec	KEY_DOWN>,
			<0xea	KEY_LEFT>,
			<0xeb	KEY_RIGHT>,
			<0xbe	KEY_HOMEPAGE>,	//source
			<0xbd	KEY_TEXT>,	//no used

			<0xff	KEY_0>,
			<0xfe	KEY_1>,
			<0xfd	KEY_2>,
			<0xfc	KEY_3>,
			<0xfb	KEY_4>,
			<0xfa	KEY_5>,
			<0xf9	KEY_6>,
			<0xf8	KEY_7>,
			<0xf7	KEY_8>,
			<0xf6	KEY_9>,
			<0xe8	KEY_DOT>,
			<0xb2	KEY_BACKSPACE>,

			<0xb0	KEY_PLAYPAUSE>,
			<0xef	KEY_STOPCD>,
			<0xb3	KEY_PREVIOUSSONG>,
			<0xb1	KEY_NEXTSONG>,

			<0xf1	KEY_RO>,		//used to Starts the system settings activity
			<0xe0	KEY_APPSELECT>,
			<0xe7	KEY_VOLUMEDOWN>,
			<0xe6	KEY_VOLUMEUP>;
	};
};

&rk_rga {
	status = "okay";
};

&rkvdec {
	status = "okay";
};

&rkvdec_mmu {
	status = "okay";
};

&rkvenc {
	venc-supply = <&vdd_logic>;
	status = "okay";
};

&rkvenc_mmu {
	status = "okay";
};

&rknpu {
	status = "disabled";
};

&rknpu_mmu {
	status = "disabled";
};

&saradc {
	status = "okay";
	vref-supply = <&vcca_1v8>;
};

&sdhci {
	/delete-property/ supports-cqe;
	bus-width = <8>;
	supports-emmc;
	non-removable;
	max-frequency = <200000000>;
	status = "okay";
};

&sdmmc0 {
	max-frequency = <150000000>;
	supports-sd;
	bus-width = <4>;
	cap-mmc-highspeed;
	cap-sd-highspeed;
	disable-wp;
	sd-uhs-sdr104;
	vmmc-supply = <&vcc3v3_sd>;
	vqmmc-supply = <&vccio_sd>;
	pinctrl-names = "default";
	pinctrl-0 = <&sdmmc0_bus4 &sdmmc0_clk &sdmmc0_cmd &sdmmc0_det>;
	status = "okay";
};

&sdmmc2 {
	status = "disabled";
};

&sdio_pwrseq {
	pinctrl-0 = <&wifi_enable_h>;
	reset-gpios = <&gpio2 RK_PB1 GPIO_ACTIVE_LOW>;
	status = "disabled";
};
&sdmmc1 {
	max-frequency = <150000000>;
	supports-sdio;
	bus-width = <4>;
	disable-wp;
	cap-sd-highspeed;
	cap-sdio-irq;
	keep-power-in-suspend;
	mmc-pwrseq = <&sdio_pwrseq>;
	non-removable;
	pinctrl-names = "default";
	pinctrl-0 = <&sdmmc1_bus4 &sdmmc1_cmd &sdmmc1_clk>;
	sd-uhs-sdr104;
	rockchip,default-sample-phase = <90>;
	status = "disabled";
};

&uart1 {
	status = "okay";
	pinctrl-names = "default";
	pinctrl-0 = <&uart1m0_xfer &uart1m0_ctsn>;
};

&uart0 {
	status = "okay";
};

&uart3 {
	status = "okay";
};

&uart5 {
	status = "okay";
	pinctrl-names = "default";
	pinctrl-0 = <&uart5m1_xfer>;
};

&uart7 {
	status = "okay";
	pinctrl-names = "default";
	pinctrl-0 = <&uart7m2_xfer>;
};

&uart9 {
	status = "okay";
	pinctrl-names = "default";
	pinctrl-0 = <&uart9m2_xfer>;
};

&sfc {
	status = "okay";
};

&spdif_8ch {
	status = "disabled";
};

&tsadc {
	status = "okay";
};

&u2phy0_host {
	phy-supply = <&vcc5v0_host>;
	status = "okay";
};

&u2phy0_otg {
	vbus-supply = <&vcc5v0_otg>;
	/*0 - Normal, 1 - Force Host, 2 - Force Device*/
	//rockchip,usb-mode = <1>;
	status = "okay";
};

&u2phy1_host {
	phy-supply = <&vcc5v0_host>;
	status = "okay";
};

&u2phy1_otg {
	phy-supply = <&vcc5v0_host>;
	status = "okay";
};

&usb2phy0 {
	status = "okay";
};

&usb2phy1 {
	status = "okay";
};

&usb_host0_ehci {
	status = "okay";
};

&usb_host0_ohci {
	status = "okay";
};

&usb_host1_ehci {
	status = "okay";
};

&usb_host1_ohci {
	status = "okay";
};

&usbdrd_dwc3 {
	dr_mode = "peripheral";
	extcon = <&usb2phy0>;
	status = "okay";
};

&usbdrd30 {
	status = "okay";
};

&usbhost_dwc3 {
	status = "okay";
};

&usbhost30 {
	status = "okay";
};

&combphy1_usq {
	status = "okay";
};

&combphy2_psq {
	status = "okay";
};

&vdpu {
	status = "okay";
};

&vdpu_mmu {
	status = "okay";
};

&vepu {
	status = "okay";
};

&vepu_mmu {
	status = "okay";
};

&vop {
	status = "okay";
	assigned-clocks = <&cru DCLK_VOP0>, <&cru DCLK_VOP1>;
	assigned-clock-parents = <&pmucru PLL_HPLL>, <&cru PLL_VPLL>;
};

&vop_mmu {
	status = "disabled";
};


&cpu0_opp_table {
	/delete-node/ opp-408000000;
	/delete-node/ opp-600000000;
	/delete-node/ opp-816000000;
	/delete-node/ opp-1104000000;
	/delete-node/ opp-1416000000;
	/delete-node/ opp-1608000000;
	/delete-node/ opp-1992000000;

		opp-1800000000 {
			opp-hz = /bits/ 64 <1800000000>;
			opp-microvolt = <1150000 1150000 1150000>;
			opp-microvolt-L0 = <1150000 1150000 1150000>;
			opp-microvolt-L1 = <1100000 1100000 1150000>;
			opp-microvolt-L2 = <1075000 1075000 1150000>;
			opp-microvolt-L3 = <1050000 1050000 1150000>;
			clock-latency-ns = <40000>;
		};
};
